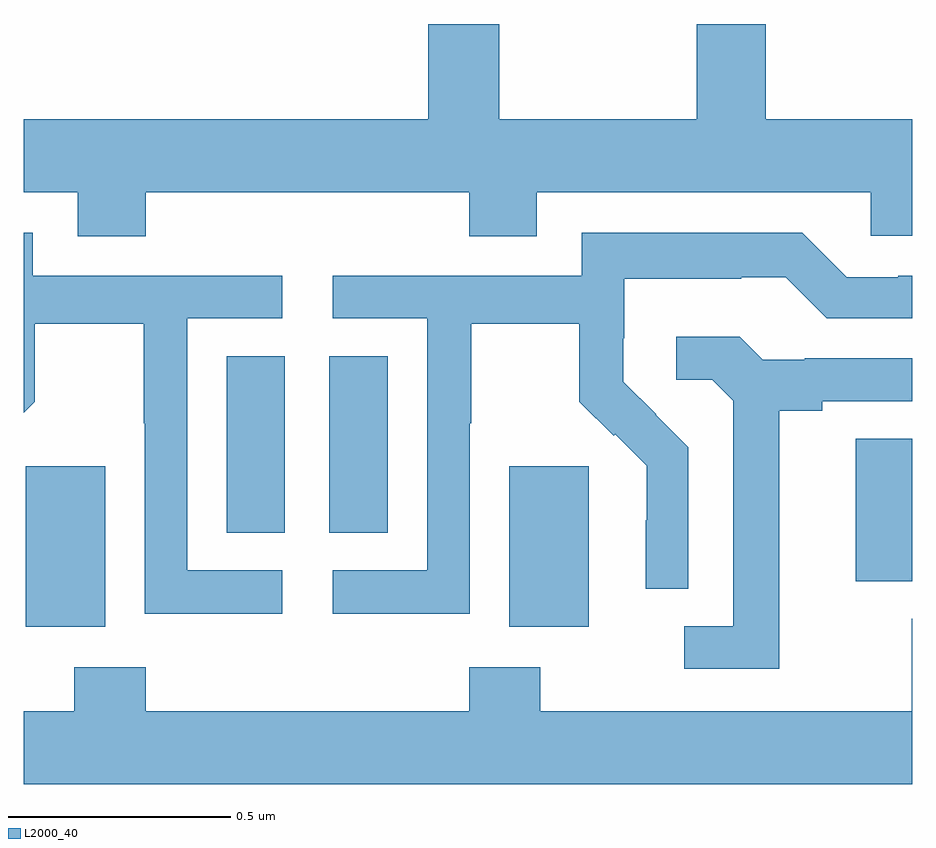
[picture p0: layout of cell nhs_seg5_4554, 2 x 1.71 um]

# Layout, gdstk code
import gdstk
lib = gdstk.Library(unit=1e-6, precision=1e-09)
def R(c, l, rs):  # rectangles x0, y0, x1, y1
    for r in rs: c.add(gdstk.rectangle(r[:2], r[2:], *l))
def P(c, l, *ps):  # polygons
    for p in ps: c.add(gdstk.Polygon(p, *l))
L2000_40 = (2000, 40)

nhs_seg5_4554 = lib.new_cell('nhs_seg5_4554')
R(nhs_seg5_4554, L2000_40, [(172.004,862.442,172.183,862.803), (173.093,862.442,173.272,862.803), (173.873,862.545,174,862.865), (172.457,862.654,172.588,863.051), (172.688,862.654,172.819,863.051)])
P(nhs_seg5_4554, L2000_40, [(172.274,863.42),(173.003,863.42),(173.003,863.321),(173.155,863.321),(173.155,863.42),(173.907,863.42),(173.907,863.322),(174,863.322),(174,863.584),(173.67,863.584),(173.67,863.799),(173.515,863.799),(173.515,863.584),(173.07,863.584),(173.07,863.799),(172.91,863.799),(172.91,863.584),(172,863.584),(172,863.42),(172.121,863.42),(172.121,863.321),(172.274,863.321)],
  [(173.004,862.9),(173.007,862.9),(173.007,863.124),(173.251,863.124),(173.251,862.949),(173.328,862.872),(173.331,862.875),(173.402,862.805),(173.402,862.682),(173.4,862.682),(173.4,862.528),(173.496,862.528),(173.496,862.846),(173.423,862.919),(173.424,862.92),(173.35,862.994),(173.35,863.091),(173.352,863.091),(173.352,863.225),(173.615,863.225),(173.615,863.229),(173.715,863.229),(173.808,863.136),(174,863.136),(174,863.232),(173.969,863.232),(173.969,863.229),(173.853,863.229),(173.753,863.329),(173.256,863.329),(173.256,863.232),(172.695,863.232),(172.695,863.136),(172.908,863.136),(172.908,862.569),(172.695,862.569),(172.695,862.471),(173.004,862.471)],
  [(172.582,862.569),(172.368,862.569),(172.368,863.136),(172.582,863.136),(172.582,863.232),(172.02,863.232),(172.02,863.329),(172,863.329),(172,862.924),(172.025,862.949),(172.025,863.124),(172.27,863.124),(172.27,862.9),(172.272,862.9),(172.272,862.471),(172.582,862.471)],
  [(173.701,862.928),(173.797,862.928),(173.797,862.95),(174,862.95),(174,863.046),(173.758,863.046),(173.758,863.043),(173.664,863.043),(173.612,863.095),(173.469,863.095),(173.469,862.998),(173.55,862.998),(173.597,862.951),(173.597,862.443),(173.487,862.443),(173.487,862.347),(173.701,862.347)],
  [(174,862.46),(173.999,862.46),(173.999,862.252),(173.163,862.252),(173.163,862.351),(173.003,862.351),(173.003,862.252),(172.274,862.252),(172.274,862.351),(172.114,862.351),(172.114,862.252),(172,862.252),(172,862.088),(174,862.088)])

lib.write_gds('nhs_seg5_4554.gds')
